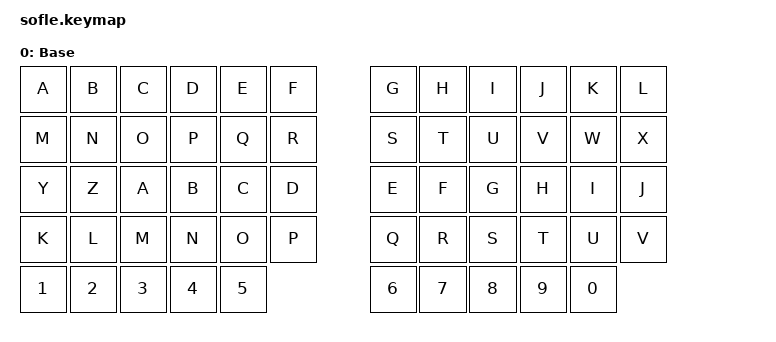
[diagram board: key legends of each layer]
\
/*
 * Sofle Choc Wireless Modern2.0 — MATRIX TESTER (Windows FR/AZERTY)
 * Goal: print a unique character per physical key to discover the exact matrix order.
 *
 * How to use:
 * 1) Flash this keymap (left + right).
 * 2) Open Notepad and press keys from top-left to top-right (Row 1), then Row 2, Row 3, Row 4,
 *    then the 5 left thumb keys, then the 5 right thumb keys.
 * 3) Send me the sequence you see (e.g., "ABCDEFGHIJKL..."), and I’ll align the final FR layout exactly.
 */

#include <behaviors.dtsi>
#include <dt-bindings/zmk/keys.h>

/ {
    keymap {
        compatible = "zmk,keymap";

        default_layer {
            display-name = "Base";
            bindings = <
                // Row 1 (Left 6)                               // Row 1 (Right 6)
                &kp A  &kp B  &kp C  &kp D  &kp E  &kp F         &kp G  &kp H  &kp I  &kp J  &kp K  &kp L
                // Row 2
                &kp M  &kp N  &kp O  &kp P  &kp Q  &kp R         &kp S  &kp T  &kp U  &kp V  &kp W  &kp X
                // Row 3
                &kp Y  &kp Z  &kp A  &kp B  &kp C  &kp D         &kp E  &kp F  &kp G  &kp H  &kp I  &kp J
                // Row 4 (INCLUDES ENCODER PRESSES in the middle two slots)
                &kp K  &kp L  &kp M  &kp N  &kp O  &kp P         &kp Q  &kp R  &kp S  &kp T  &kp U  &kp V
                // Thumbs (5 left, 5 right) — print digits
                &kp N1 &kp N2 &kp N3 &kp N4 &kp N5               &kp N6 &kp N7 &kp N8 &kp N9 &kp N0
            >;
        };
    };
};

/* Encoders rotation: no-op for the tester (optional) */
